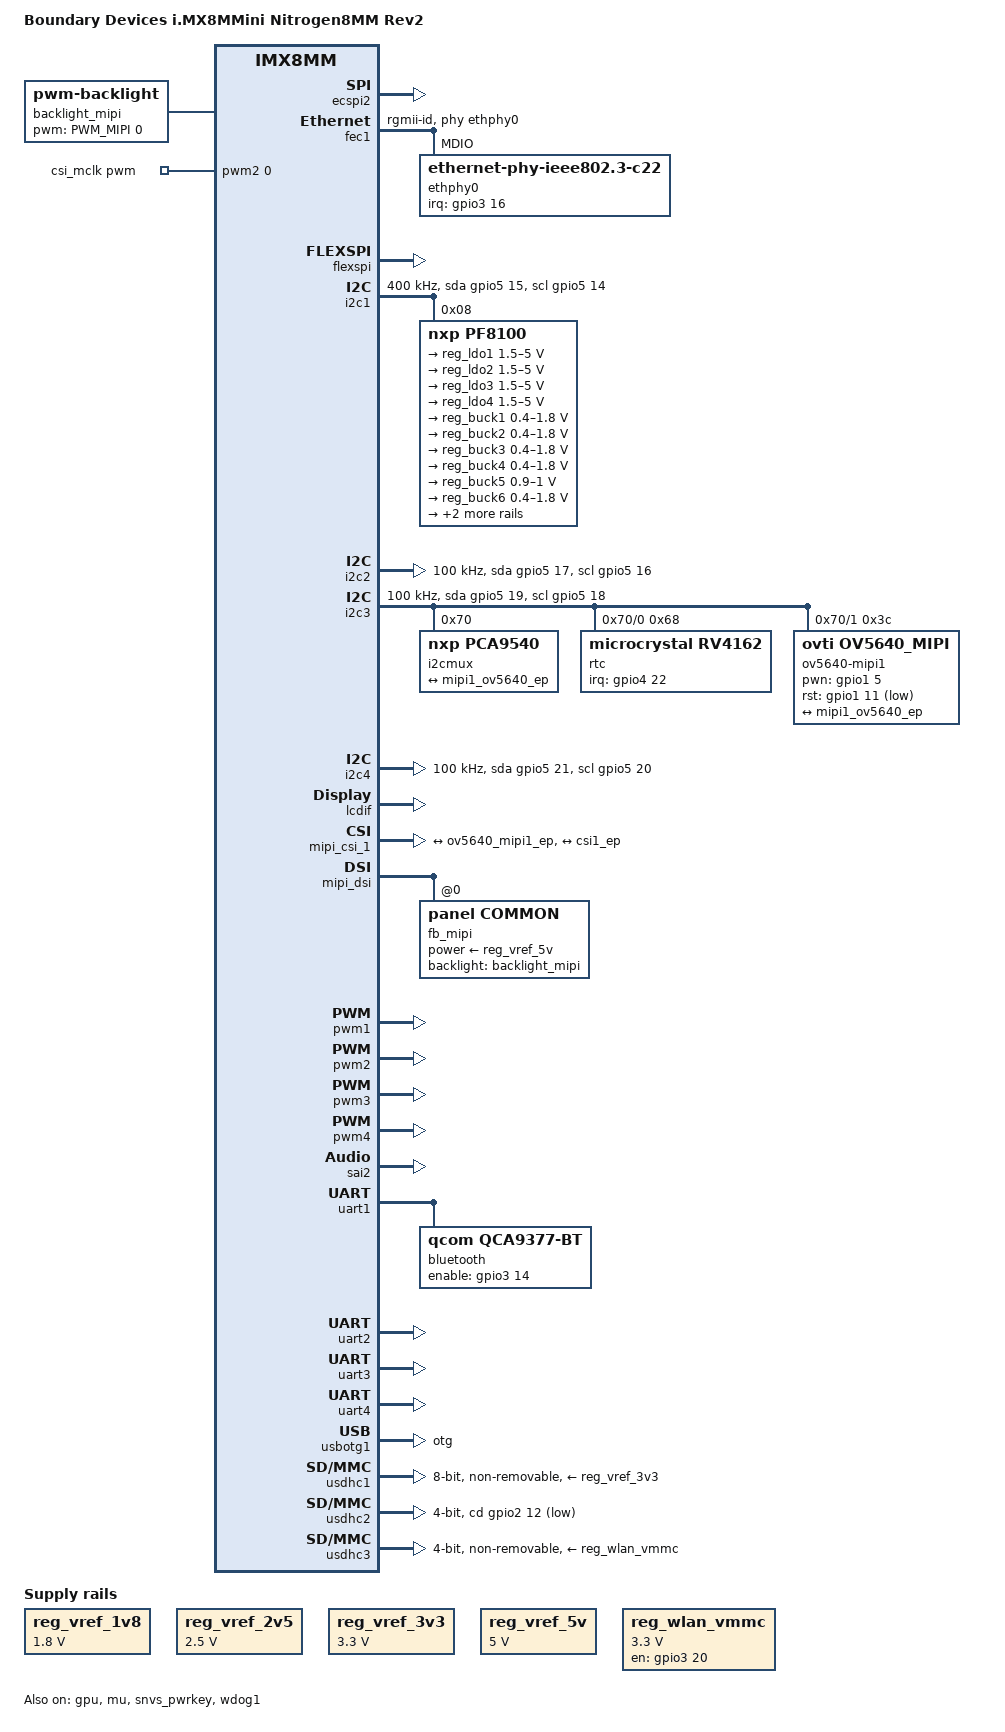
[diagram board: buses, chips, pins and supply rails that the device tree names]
// SPDX-License-Identifier: (GPL-2.0+ OR MIT)
/*
 * Copyright 2018 Boundary Devices
 */
#ifndef TOUCHSCREEN_I2C_BUS
#define TOUCHSCREEN_I2C_BUS	i2c2
#endif

#ifndef PWM_MIPI
#define PWM_MIPI	pwm3
#endif

#include "../panel-m101nwwb.dtsi"

/ {
	model = "Boundary Devices i.MX8MMini Nitrogen8MM Rev2";
	compatible = "boundary,imx8mm-nitrogen8mm_rev2", "fsl,imx8mm";

	aliases {
		a53 = &A53_0;
		backlight_mipi = &backlight_mipi;
		fb_mipi = &fb_mipi;
		lcdif = &lcdif;
		mipi = &fb_mipi;
		mipi_dsi = &mipi_dsi;
		mipi_to_lvds = &mipi_to_lvds;
		pca9540 = &pca9540;
		pca9540_2 = &pca9540_2;
		pca9546 = &pca9546;
		pwm_mipi = &PWM_MIPI;
		t_mipi = &t_mipi;
		ts_ft5x06 = &ts_ft5x06;
		ts_goodix = &ts_goodix;
	};

	backlight_mipi: backlight-mipi {
		brightness-levels = <0 1 2 3 4 5 6 7 8 9 10>;
		compatible = "pwm-backlight";
		default-brightness-level = <8>;
		display = <&display_subsystem>;
		pwms = <&PWM_MIPI 0 30000 0>;		/* 33.3 Khz */
		status = "okay";
	};

	csi_mclk: csi-mclk {
		compatible = "pwm-clock";
		#clock-cells = <0>;
		clock-frequency = <20000000>;
		clock-output-names = "csi_mclk";
		pwms = <&pwm2 0 50 0>; /* 1 / 50 ns = 20 MHz */
	};

	reg_vref_1v8: regulator-vref-1v8 {
		compatible = "regulator-fixed";
		regulator-name = "vref-1v8";
		regulator-min-microvolt = <1800000>;
		regulator-max-microvolt = <1800000>;
	};

	reg_vref_2v5: regulator-vref-2v5 {
		compatible = "regulator-fixed";
		regulator-name = "vref-2v5";
		regulator-min-microvolt = <2500000>;
		regulator-max-microvolt = <2500000>;
	};

	reg_vref_3v3: regulator-vref-3v3 {
		compatible = "regulator-fixed";
		regulator-name = "vref-3v3";
		regulator-min-microvolt = <3300000>;
		regulator-max-microvolt = <3300000>;
	};

	reg_vref_5v: regulator-vref-5v {
		compatible = "regulator-fixed";
		regulator-name = "vref-5v";
		regulator-min-microvolt = <5000000>;
		regulator-max-microvolt = <5000000>;
	};

	reg_wlan_vmmc: regulator-wlan-vmmc {
		compatible = "regulator-fixed";
		pinctrl-names = "default";
		pinctrl-0 = <&pinctrl_reg_wlan_vmmc>;
		regulator-name = "reg_wlan_vmmc";
		regulator-min-microvolt = <3300000>;
		regulator-max-microvolt = <3300000>;
		gpio = <&gpio3 20 GPIO_ACTIVE_HIGH>;
		startup-delay-us = <70000>;
		enable-active-high;
	};
};

&A53_0 {
	cpu-supply = <&reg_buck3>;
};

&ecspi2 {
	pinctrl-names = "default";
	pinctrl-0 = <&pinctrl_ecspi2>;
	fsl,spi-num-chipselects = <1>;
	cs-gpios = <&gpio5 13 GPIO_ACTIVE_LOW>;
	status = "okay";
	#address-cells = <1>;
	#size-cells = <0>;
};

&fec1 {
	mdc-gpios = <&gpio1 16 GPIO_ACTIVE_HIGH>;
	mdio-gpios = <&gpio1 17 GPIO_ACTIVE_HIGH>;
	pinctrl-names = "default";
	pinctrl-0 = <&pinctrl_fec1>;
#if 0
	phy-reset-gpios = <&gpio3 15 GPIO_ACTIVE_LOW>;
#endif
	phy-mode = "rgmii-id";
	phy-handle = <&ethphy0>;
	fsl,magic-packet;
	status = "okay";

	mdio {
		#address-cells = <1>;
		#size-cells = <0>;

		ethphy0: ethernet-phy {
			compatible = "ethernet-phy-ieee802.3-c22";
			interrupts-extended = <&gpio3 16 IRQ_TYPE_LEVEL_LOW>;
			reg-mask = <0x90>;
			rxc-skew-ps = <3000>;
			rxd0-skew-ps = <0>;
			rxd1-skew-ps = <0>;
			rxd2-skew-ps = <0>;
			rxd3-skew-ps = <0>;
			rxdv-skew-ps = <0>;
			txc-skew-ps = <3000>;
			txd0-skew-ps = <0>;
			txd1-skew-ps = <0>;
			txd2-skew-ps = <0>;
			txd3-skew-ps = <0>;
			txen-skew-ps = <0>;
		};
	};
};

&flexspi {
	pinctrl-names = "default";
	pinctrl-0 = <&pinctrl_flexspi>;
	status = "okay";
};

&gpu {
	status = "okay";
};

&i2c1 {
	clock-frequency = <400000>;
	pinctrl-names = "default", "gpio";
	pinctrl-0 = <&pinctrl_i2c1>;
	pinctrl-1 = <&pinctrl_i2c1_1>;
	scl-gpios = <&gpio5 14 GPIO_OPEN_DRAIN>;
	sda-gpios = <&gpio5 15 GPIO_OPEN_DRAIN>;
	status = "okay";

	pf8100@8 {
		compatible = "nxp,pf8100";
		pinctrl-names = "default";
		pinctrl-0 = <&pinctrl_i2c1_pf8100>;
		reg = <0x08>;

		regulators {
			reg_ldo1: ldo1 {
				regulator-always-on;
				regulator-boot-on;
				regulator-max-microvolt = <5000000>;
				regulator-min-microvolt = <1500000>;
			};

			reg_ldo2: ldo2 {
				regulator-always-on;
				regulator-boot-on;
				regulator-max-microvolt = <5000000>;
				regulator-min-microvolt = <1500000>;
			};

			reg_ldo3: ldo3 {
				regulator-boot-on;
				regulator-max-microvolt = <5000000>;
				regulator-min-microvolt = <1500000>;
			};

			reg_ldo4: ldo4 {
				regulator-always-on;
				regulator-boot-on;
				regulator-max-microvolt = <5000000>;
				regulator-min-microvolt = <1500000>;
			};

			reg_buck1: buck1 {
				nxp,phase-shift = <0>;
				regulator-max-microamp = <4500000>;
				regulator-always-on;
				regulator-boot-on;
				regulator-max-microvolt = <1800000>;
				regulator-min-microvolt =  <400000>;
			};

			reg_buck2: buck2 {
				regulator-always-on;
				regulator-boot-on;
				regulator-max-microvolt = <1800000>;
				regulator-min-microvolt =  <400000>;
			};

			reg_buck3: buck3 {
				regulator-always-on;
				regulator-boot-on;
				regulator-max-microvolt = <1800000>;
				regulator-min-microvolt =  <400000>;
				fast-slew = <1>;
			};

			reg_buck4: buck4 {
				regulator-boot-on;
				regulator-max-microvolt = <1800000>;
				regulator-min-microvolt =  <400000>;
				fast-slew = <1>;
			};

			reg_buck5: buck5 {
				regulator-always-on;
				regulator-boot-on;
				regulator-max-microvolt = <1000000>;
				regulator-min-microvolt =  <900000>;
			};

			reg_buck6: buck6 {
				regulator-always-on;
				regulator-boot-on;
				regulator-max-microvolt = <1800000>;
				regulator-min-microvolt =  <400000>;
			};

			reg_buck7: buck7 {
				regulator-always-on;
				regulator-boot-on;
				regulator-max-microvolt = <4100000>;
				regulator-min-microvolt = <1000000>;
			};

			reg_vsnvs: vsnvs {
				regulator-always-on;
				regulator-boot-on;
				regulator-max-microvolt = <3300000>;
				regulator-min-microvolt = <1800000>;
			};
		};
	};
};

&i2c2 {
	clock-frequency = <100000>;
	pinctrl-names = "default", "gpio";
	pinctrl-0 = <&pinctrl_i2c2>;
	pinctrl-1 = <&pinctrl_i2c2_1>;
	scl-gpios = <&gpio5 16 GPIO_OPEN_DRAIN>;
	sda-gpios = <&gpio5 17 GPIO_OPEN_DRAIN>;
	status = "okay";
};

&i2c3 {
	clock-frequency = <100000>;
	pinctrl-names = "default", "gpio";
	pinctrl-0 = <&pinctrl_i2c3>;
	pinctrl-1 = <&pinctrl_i2c3_1>;
	scl-gpios = <&gpio5 18 GPIO_OPEN_DRAIN>;
	sda-gpios = <&gpio5 19 GPIO_OPEN_DRAIN>;
	status = "okay";

	i2cmux@70 {
		compatible = "nxp,pca9540";
		reg = <0x70>;
		#address-cells = <1>;
		#size-cells = <0>;

		i2c3a: i2c3@0 {
			reg = <0>;
			#address-cells = <1>;
			#size-cells = <0>;
		};

		i2c3b: i2c3@1 {
			reg = <1>;
			#address-cells = <1>;
			#size-cells = <0>;
		};
	};
};

&TOUCHSCREEN_I2C_BUS {
	ts_ft5x06: touchscreen@38 {
		compatible = "edt,ft5x06-ts";
		interrupts-extended = <&gpio1 6 IRQ_TYPE_EDGE_FALLING>;
		pinctrl-names = "default";
		pinctrl-0 = <&pinctrl_ts_ft5x06>;
		reg = <0x38>;
		reset-gpios = <&gpio1 7 GPIO_ACTIVE_LOW>;
		status = "disabled";
		wakeup-gpios = <&gpio1 6 GPIO_ACTIVE_LOW>;
	};

	ts_goodix: touchscreen@5d {
		compatible = "goodix,gt9271";
		display = <&display_subsystem>;
		esd-recovery-timeout-ms = <2000>;
		interrupts-extended = <&gpio1 6 IRQ_TYPE_LEVEL_HIGH>;
		irq-gpios = <&gpio1 6 GPIO_ACTIVE_HIGH>;
		pinctrl-names = "default";
		pinctrl-0 = <&pinctrl_ts_gt911>;
		reg = <0x5d>;
		reset-gpios = <&gpio1 7 GPIO_ACTIVE_HIGH>;
		status = "disabled";
	};

	pca9540: i2cmux9540@70 {
		compatible = "nxp,pca9540";
		reg = <0x70>;
		status = "disabled";
		#address-cells = <1>;
		#size-cells = <0>;

		TOUCHSCREEN_I2C_BUS@0 {
			clock-frequency = <100000>;
			reg = <0>;
			#address-cells = <1>;
			#size-cells = <0>;

			/* Touch screens */
		};

		TOUCHSCREEN_I2C_BUS@1 {
			clock-frequency = <100000>;
			reg = <1>;
			#address-cells = <1>;
			#size-cells = <0>;

			lt8912_2: lt8912_2@48 {
				compatible = "lontium,lt8912";
				display-dsi = <&fb_mipi>;
				interrupts-extended = <&gpio1 1 IRQ_TYPE_LEVEL_LOW>;
				pinctrl-names = "default";
				pinctrl-0 = <&pinctrl_lt8912_2>;
				reg = <0x48> ;
				reset-gpios = <&gpio1 9 GPIO_ACTIVE_LOW>;
			};
		};
	};

	pca9540_2: i2cmux9540_2@70 {
		compatible = "nxp,pca9540";
		reg = <0x70>;
		status = "disabled";
		#address-cells = <1>;
		#size-cells = <0>;

		TOUCHSCREEN_I2C_BUS@0 {
			clock-frequency = <100000>;
			reg = <0>;
			#address-cells = <1>;
			#size-cells = <0>;

			/* Touch screens */
			touchscreen@5d {
				compatible = "goodix,gt911";
				display = <&display_subsystem>;
				esd-recovery-timeout-ms = <2000>;
				interrupts-extended = <&gpio1 6 IRQ_TYPE_LEVEL_HIGH>;
				irq-gpios = <&gpio1 6 GPIO_ACTIVE_HIGH>;
				pinctrl-names = "default";
				pinctrl-0 = <&pinctrl_ts_gt911>;
				reg = <0x5d>;
				reset-gpios = <&gpio1 7 GPIO_ACTIVE_HIGH>;
			};
		};

		tc358767_bus: TOUCHSCREEN_I2C_BUS@1 {
			clock-frequency = <100000>;
			reg = <1>;
			#address-cells = <1>;
			#size-cells = <0>;
		};
	};

	pca9546: i2cmux9546@70 {
		compatible = "nxp,pca9546";
		reg = <0x70>;
		status = "disabled";
		#address-cells = <1>;
		#size-cells = <0>;

		TOUCHSCREEN_I2C_BUS@0 {
			clock-frequency = <100000>;
			reg = <0>;
			#address-cells = <1>;
			#size-cells = <0>;

			lt8912@48 {
				compatible = "lontium,lt8912";
				ddc-i2c-bus = <&ddc_i2c_bus>;
				display-dsi = <&fb_mipi>;
				reg = <0x48>;
				reset-gpios = <&max7323 0 GPIO_ACTIVE_LOW>;
			};
		};

		ddc_i2c_bus: TOUCHSCREEN_I2C_BUS@1 {
			clock-frequency = <100000>;
			reg = <1>;
			#address-cells = <1>;
			#size-cells = <0>;
			/* edid  @50 */
		};

		TOUCHSCREEN_I2C_BUS@2 {
			clock-frequency = <100000>;
			reg = <2>;
			#address-cells = <1>;
			#size-cells = <0>;

			/* Touch screens */
			ts_ft5x06_2: touchscreen@38 {
				compatible = "edt,ft5x06-ts";
				interrupts-extended = <&gpio1 6 IRQ_TYPE_EDGE_FALLING>;
				pinctrl-names = "default";
				pinctrl-0 = <&pinctrl_ts_ft5x06>;
				reg = <0x38>;
				reset-gpios = <&gpio1 7 GPIO_ACTIVE_LOW>;
				wakeup-gpios = <&gpio1 6 GPIO_ACTIVE_LOW>;
			};
		};

		TOUCHSCREEN_I2C_BUS@3 {
			clock-frequency = <100000>;
			reg = <3>;
			#address-cells = <1>;
			#size-cells = <0>;

			max7323: max7323@68 {
				compatible = "maxim,max7323";
				gpio-controller;
				reg = <0x68>;
				#gpio-cells = <2>;
			};
		};
	};
};

&i2c3a {
	rtc@68 {
		compatible = "microcrystal,rv4162";
		pinctrl-names = "default";
		pinctrl-0 = <&pinctrl_i2c3a_rv4162>;
		reg = <0x68>;
		interrupts-extended = <&gpio4 22 IRQ_TYPE_LEVEL_LOW>;
		wakeup-source;
	};
};

&i2c3b {
	ov5640-mipi1@3c {
		clocks = <&csi_mclk>;
		clock-names = "csi_mclk";
		compatible = "ovti,ov5640_mipi";
		csi_id = <0>;
		mclk = <20000000>;
		mclk_source = <0>;
		pinctrl-names = "default";
		pinctrl-0 = <&pinctrl_i2c3b_ov5640_mipi>;
		pwn-gpios = <&gpio1 5 GPIO_ACTIVE_HIGH>;
		rst-gpios = <&gpio1 11 GPIO_ACTIVE_LOW>;
		reg = <0x3c>;
		status = "okay";

		port {
			ov5640_mipi1_ep: endpoint {
				remote-endpoint = <&mipi1_ov5640_ep>;
			};
		};
	};
};

&i2c4 {
	clock-frequency = <100000>;
	pinctrl-names = "default", "gpio";
	pinctrl-0 = <&pinctrl_i2c4>;
	pinctrl-1 = <&pinctrl_i2c4_1>;
	scl-gpios = <&gpio5 20 GPIO_OPEN_DRAIN>;
	sda-gpios = <&gpio5 21 GPIO_OPEN_DRAIN>;
	status = "okay";
};

&iomuxc {
	pinctrl-names = "default";
	pinctrl-0 = <&pinctrl_hog>;

	pinctrl_ecspi2: ecspi2grp {
		fsl,pins = <
			/* J15 */
			MX8MM_IOMUXC_ECSPI2_SS0_GPIO5_IO13	0x140	/* Pin 39 */
			MX8MM_IOMUXC_ECSPI2_MISO_ECSPI2_MISO	0x19	/* Pin 41 */
			MX8MM_IOMUXC_ECSPI2_SCLK_ECSPI2_SCLK	0x19	/* Pin 43 */
			MX8MM_IOMUXC_ECSPI2_MOSI_ECSPI2_MOSI	0x19	/* Pin 45 */
		>;
	};

	pinctrl_fec1: fec1grp {
		fsl,pins = <
			/* PAD_CTL_ODE is screwy on 8mm mini, avoid it */
			MX8MM_IOMUXC_ENET_MDC_GPIO1_IO16	0x00
			MX8MM_IOMUXC_ENET_MDIO_GPIO1_IO17	0x00
			MX8MM_IOMUXC_ENET_RD0_ENET1_RGMII_RD0	0x91
			MX8MM_IOMUXC_ENET_RD1_ENET1_RGMII_RD1	0x91
			MX8MM_IOMUXC_ENET_RD2_ENET1_RGMII_RD2	0x91
			MX8MM_IOMUXC_ENET_RD3_ENET1_RGMII_RD3	0x91
			MX8MM_IOMUXC_ENET_RXC_ENET1_RGMII_RXC	0x91
			MX8MM_IOMUXC_ENET_RX_CTL_ENET1_RGMII_RX_CTL	0x91
			MX8MM_IOMUXC_ENET_TD0_ENET1_RGMII_TD0	0x10
			MX8MM_IOMUXC_ENET_TD1_ENET1_RGMII_TD1	0x10
			MX8MM_IOMUXC_ENET_TD2_ENET1_RGMII_TD2	0x10
			MX8MM_IOMUXC_ENET_TD3_ENET1_RGMII_TD3	0x10
			MX8MM_IOMUXC_ENET_TXC_ENET1_RGMII_TXC	0x12
			MX8MM_IOMUXC_ENET_TX_CTL_ENET1_RGMII_TX_CTL	0x10
			MX8MM_IOMUXC_NAND_RE_B_GPIO3_IO15	0x159
			MX8MM_IOMUXC_NAND_READY_B_GPIO3_IO16	0x1c0
		>;
	};

	pinctrl_flexspi: flexspigrp {
		fsl,pins = <
			MX8MM_IOMUXC_NAND_ALE_QSPI_A_SCLK	0x1c2
			MX8MM_IOMUXC_NAND_CE0_B_QSPI_A_SS0_B	0x82
			MX8MM_IOMUXC_NAND_DATA00_QSPI_A_DATA0	0x82
			MX8MM_IOMUXC_NAND_DATA01_QSPI_A_DATA1	0x82
			MX8MM_IOMUXC_NAND_DATA02_QSPI_A_DATA2	0x82
			MX8MM_IOMUXC_NAND_DATA03_QSPI_A_DATA3	0x82
		>;
	};

	pinctrl_hog: hoggrp {
		fsl,pins = <
			MX8MM_IOMUXC_GPIO1_IO03_GPIO1_IO3	0x09
			MX8MM_IOMUXC_GPIO1_IO08_GPIO1_IO8	0x09
		>;
	};

	pinctrl_i2c1: i2c1grp {
		fsl,pins = <
			MX8MM_IOMUXC_I2C1_SCL_I2C1_SCL		0x400001c3
			MX8MM_IOMUXC_I2C1_SDA_I2C1_SDA		0x400001c3
		>;
	};

	pinctrl_i2c1_1: i2c1_1grp {
		fsl,pins = <
			MX8MM_IOMUXC_I2C1_SCL_GPIO5_IO14	0x400001c3
			MX8MM_IOMUXC_I2C1_SDA_GPIO5_IO15	0x400001c3
		>;
	};

	pinctrl_i2c1_pf8100: i2c1-pf8100grp {
		fsl,pins = <
			MX8MM_IOMUXC_NAND_CE2_B_GPIO3_IO3	0x149
			MX8MM_IOMUXC_NAND_CE3_B_GPIO3_IO4	0x149
		>;
	};

	pinctrl_i2c2: i2c2grp {
		fsl,pins = <
			MX8MM_IOMUXC_I2C2_SCL_I2C2_SCL		0x400001c3
			MX8MM_IOMUXC_I2C2_SDA_I2C2_SDA		0x400001c3
		>;
	};

	pinctrl_i2c2_1: i2c2_1grp {
		fsl,pins = <
			MX8MM_IOMUXC_I2C2_SCL_GPIO5_IO16	0x400001c3
			MX8MM_IOMUXC_I2C2_SDA_GPIO5_IO17	0x400001c3
		>;
	};

	pinctrl_sn65dsi83: sn65dsi83grp {
		fsl,pins = <
			MX8MM_IOMUXC_GPIO1_IO01_GPIO1_IO1	0x04
			MX8MM_IOMUXC_GPIO1_IO09_GPIO1_IO9	0x106
		>;
	};

	pinctrl_ts_gt911: ts-gt911grp {
		fsl,pins = <
			MX8MM_IOMUXC_GPIO1_IO06_GPIO1_IO6	0x1d6
			/* driver writes levels, instead of active/inactive */
			MX8MM_IOMUXC_GPIO1_IO07_GPIO1_IO7	0x149
		>;
	};

	pinctrl_ts_ft5x06: ts-ft5x06grp {
		fsl,pins = <
			MX8MM_IOMUXC_GPIO1_IO06_GPIO1_IO6	0x149
			MX8MM_IOMUXC_GPIO1_IO07_GPIO1_IO7	0x109
		>;
	};

	pinctrl_i2c3: i2c3grp {
		fsl,pins = <
			MX8MM_IOMUXC_I2C3_SCL_I2C3_SCL		0x400001c3
			MX8MM_IOMUXC_I2C3_SDA_I2C3_SDA		0x400001c3
		>;
	};

	pinctrl_i2c3_1: i2c3_1grp {
		fsl,pins = <
			MX8MM_IOMUXC_I2C3_SCL_GPIO5_IO18	0x400001c3
			MX8MM_IOMUXC_I2C3_SDA_GPIO5_IO19	0x400001c3
		>;
	};

	pinctrl_i2c3a_rv4162: i2c3a-rv4162grp {
		fsl,pins = <
			MX8MM_IOMUXC_SAI2_RXC_GPIO4_IO22	0x1c0
		>;
	};

	pinctrl_i2c3b_ov5640_mipi: i2c3b-ov5640-mipigrp {
		fsl,pins = <
			MX8MM_IOMUXC_GPIO1_IO05_GPIO1_IO5	0x141
			MX8MM_IOMUXC_GPIO1_IO11_GPIO1_IO11	0x101
		>;
	};

	pinctrl_i2c4: i2c4grp {
		fsl,pins = <
			MX8MM_IOMUXC_I2C4_SCL_I2C4_SCL		0x400001c3
			MX8MM_IOMUXC_I2C4_SDA_I2C4_SDA		0x400001c3
		>;
	};

	pinctrl_i2c4_1: i2c4_1grp {
		fsl,pins = <
			MX8MM_IOMUXC_I2C4_SCL_GPIO5_IO20	0x400001c3
			MX8MM_IOMUXC_I2C4_SDA_GPIO5_IO21	0x400001c3
		>;
	};

	pinctrl_lt8912_2: lt8912_2grp {
		fsl,pins = <
			MX8MM_IOMUXC_GPIO1_IO09_GPIO1_IO9	0x16
			MX8MM_IOMUXC_GPIO1_IO01_GPIO1_IO1	0x1c0
		>;
	};

	pinctrl_pwm1: pwm1grp {
		fsl,pins = <
			MX8MM_IOMUXC_SPDIF_EXT_CLK_PWM1_OUT	0x16
		>;
	};

	pinctrl_pwm2: pwm2grp {
		fsl,pins = <
			MX8MM_IOMUXC_SPDIF_RX_PWM2_OUT		0x16
		>;
	};

	pinctrl_pwm3: pwm3grp {
		fsl,pins = <
			MX8MM_IOMUXC_SPDIF_TX_PWM3_OUT		0x116
		>;
	};

	pinctrl_pwm4: pwm4grp {
		fsl,pins = <
			MX8MM_IOMUXC_SAI3_MCLK_PWM4_OUT		0x16
		>;
	};

	pinctrl_reg_wlan_vmmc: reg-wlan-vmmcgrp {
		fsl,pins = <
			MX8MM_IOMUXC_SAI5_RXC_GPIO3_IO20	0x16
		>;
	};

	pinctrl_sai2: sai2grp {
		fsl,pins = <
			/* Bluetooth PCM */
			MX8MM_IOMUXC_SAI2_TXFS_SAI2_TX_SYNC	0xd6
			MX8MM_IOMUXC_SAI2_TXC_SAI2_TX_BCLK	0xd6
			MX8MM_IOMUXC_SAI2_TXD0_SAI2_TX_DATA0	0xd6
			MX8MM_IOMUXC_SAI2_RXD0_SAI2_RX_DATA0	0xd6
		>;
	};

	pinctrl_sai3: sai3grp {
		fsl,pins = <
			/* J16 */
			MX8MM_IOMUXC_SAI3_MCLK_SAI3_MCLK	0xd6	/* Pin 22 */
			MX8MM_IOMUXC_SAI3_TXC_SAI3_TX_BCLK	0xd6	/* Pin 26 */
			MX8MM_IOMUXC_SAI3_TXD_SAI3_TX_DATA0	0xd6	/* Pin 28 */
			MX8MM_IOMUXC_SAI3_RXD_SAI3_RX_DATA0	0xd6	/* Pin 30 */
		>;
	};

	pinctrl_sai5: sai5grp {
		fsl,pins = <
			MX8MM_IOMUXC_SAI5_MCLK_SAI5_MCLK	0xd6
			MX8MM_IOMUXC_SAI5_RXD0_SAI5_RX_DATA0	0xd6
			MX8MM_IOMUXC_SAI5_RXD1_SAI5_RX_DATA1	0xd6
			MX8MM_IOMUXC_SAI5_RXD2_SAI5_RX_DATA2	0xd6
			MX8MM_IOMUXC_SAI5_RXD3_SAI5_RX_DATA3	0xd6
		>;
	};

	pinctrl_sound_wm8960: sound-wm8960grp {
		fsl,pins = <
			MX8MM_IOMUXC_GPIO1_IO10_GPIO1_IO10	0x80
			MX8MM_IOMUXC_SAI3_RXFS_GPIO4_IO28	0x80
		>;
	};

	pinctrl_uart1: uart1grp {
		fsl,pins = <
			MX8MM_IOMUXC_UART1_RXD_UART1_DCE_RX	0x140
			MX8MM_IOMUXC_UART1_TXD_UART1_DCE_TX	0x140
			MX8MM_IOMUXC_UART3_RXD_UART1_DCE_CTS_B	0x140
			MX8MM_IOMUXC_UART3_TXD_UART1_DCE_RTS_B	0x140
			MX8MM_IOMUXC_NAND_DQS_GPIO3_IO14	0x119
		>;
	};

	pinctrl_uart2: uart2grp {
		fsl,pins = <
			MX8MM_IOMUXC_UART2_RXD_UART2_DCE_RX	0x140
			MX8MM_IOMUXC_UART2_TXD_UART2_DCE_TX	0x140
		>;
	};

	pinctrl_uart3: uart3grp {
		fsl,pins = <
			MX8MM_IOMUXC_ECSPI1_SCLK_UART3_DCE_RX		0x140
			MX8MM_IOMUXC_ECSPI1_MOSI_UART3_DCE_TX		0x140
			MX8MM_IOMUXC_ECSPI1_SS0_UART3_DCE_RTS_B		0x140
			MX8MM_IOMUXC_ECSPI1_MISO_UART3_DCE_CTS_B	0x140
		>;
	};

	pinctrl_uart4: uart4grp {
		fsl,pins = <
			MX8MM_IOMUXC_UART4_RXD_UART4_DCE_RX	0x140
			MX8MM_IOMUXC_UART4_TXD_UART4_DCE_TX	0x140
		>;
	};

	pinctrl_usbotg1: usbotg1grp {
		fsl,pins = <
			MX8MM_IOMUXC_GPIO1_IO12_USB1_OTG_PWR	0x16
			MX8MM_IOMUXC_GPIO1_IO13_USB1_OTG_OC	0x156
		>;
	};

	pinctrl_usdhc1: usdhc1grp {
		fsl,pins = <
			MX8MM_IOMUXC_SD1_CLK_USDHC1_CLK	0x190
			MX8MM_IOMUXC_SD1_CMD_USDHC1_CMD	0x1d0
			MX8MM_IOMUXC_SD1_DATA0_USDHC1_DATA0	0x1d0
			MX8MM_IOMUXC_SD1_DATA1_USDHC1_DATA1	0x1d0
			MX8MM_IOMUXC_SD1_DATA2_USDHC1_DATA2	0x1d0
			MX8MM_IOMUXC_SD1_DATA3_USDHC1_DATA3	0x1d0
			MX8MM_IOMUXC_SD1_DATA4_USDHC1_DATA4	0x1d0
			MX8MM_IOMUXC_SD1_DATA5_USDHC1_DATA5	0x1d0
			MX8MM_IOMUXC_SD1_DATA6_USDHC1_DATA6	0x1d0
			MX8MM_IOMUXC_SD1_DATA7_USDHC1_DATA7	0x1d0
			MX8MM_IOMUXC_SD1_RESET_B_GPIO2_IO10	0x141
		>;
	};

	pinctrl_usdhc1_100mhz: usdhc1grp100mhz {
		fsl,pins = <
			MX8MM_IOMUXC_SD1_CLK_USDHC1_CLK	0x194
			MX8MM_IOMUXC_SD1_CMD_USDHC1_CMD	0x1d4
			MX8MM_IOMUXC_SD1_DATA0_USDHC1_DATA0	0x1d4
			MX8MM_IOMUXC_SD1_DATA1_USDHC1_DATA1	0x1d4
			MX8MM_IOMUXC_SD1_DATA2_USDHC1_DATA2	0x1d4
			MX8MM_IOMUXC_SD1_DATA3_USDHC1_DATA3	0x1d4
			MX8MM_IOMUXC_SD1_DATA4_USDHC1_DATA4	0x1d4
			MX8MM_IOMUXC_SD1_DATA5_USDHC1_DATA5	0x1d4
			MX8MM_IOMUXC_SD1_DATA6_USDHC1_DATA6	0x1d4
			MX8MM_IOMUXC_SD1_DATA7_USDHC1_DATA7	0x1d4
		>;
	};

	pinctrl_usdhc1_200mhz: usdhc1grp200mhz {
		fsl,pins = <
			MX8MM_IOMUXC_SD1_CLK_USDHC1_CLK	0x196
			MX8MM_IOMUXC_SD1_CMD_USDHC1_CMD	0x1d6
			MX8MM_IOMUXC_SD1_DATA0_USDHC1_DATA0	0x1d6
			MX8MM_IOMUXC_SD1_DATA1_USDHC1_DATA1	0x1d6
			MX8MM_IOMUXC_SD1_DATA2_USDHC1_DATA2	0x1d6
			MX8MM_IOMUXC_SD1_DATA3_USDHC1_DATA3	0x1d6
			MX8MM_IOMUXC_SD1_DATA4_USDHC1_DATA4	0x1d6
			MX8MM_IOMUXC_SD1_DATA5_USDHC1_DATA5	0x1d6
			MX8MM_IOMUXC_SD1_DATA6_USDHC1_DATA6	0x1d6
			MX8MM_IOMUXC_SD1_DATA7_USDHC1_DATA7	0x1d6
		>;
	};

	pinctrl_usdhc2: usdhc2grp {
		fsl,pins = <
			MX8MM_IOMUXC_SD2_CLK_USDHC2_CLK	0x190
			MX8MM_IOMUXC_SD2_CMD_USDHC2_CMD	0x1d0
			MX8MM_IOMUXC_SD2_DATA0_USDHC2_DATA0	0x1d0
			MX8MM_IOMUXC_SD2_DATA1_USDHC2_DATA1	0x1d0
			MX8MM_IOMUXC_SD2_DATA2_USDHC2_DATA2	0x1d0
			MX8MM_IOMUXC_SD2_DATA3_USDHC2_DATA3	0x1d0
			MX8MM_IOMUXC_SD2_CD_B_GPIO2_IO12	0x1c4
		>;
	};

	pinctrl_usdhc2_100mhz: usdhc2grp100mhz {
		fsl,pins = <
			MX8MM_IOMUXC_SD2_CLK_USDHC2_CLK	0x194
			MX8MM_IOMUXC_SD2_CMD_USDHC2_CMD	0x1d4
			MX8MM_IOMUXC_SD2_DATA0_USDHC2_DATA0	0x1d4
			MX8MM_IOMUXC_SD2_DATA1_USDHC2_DATA1	0x1d4
			MX8MM_IOMUXC_SD2_DATA2_USDHC2_DATA2	0x1d4
			MX8MM_IOMUXC_SD2_DATA3_USDHC2_DATA3	0x1d4
		>;
	};

	pinctrl_usdhc2_200mhz: usdhc2grp200mhz {
		fsl,pins = <
			MX8MM_IOMUXC_SD2_CLK_USDHC2_CLK	0x196
			MX8MM_IOMUXC_SD2_CMD_USDHC2_CMD	0x1d6
			MX8MM_IOMUXC_SD2_DATA0_USDHC2_DATA0	0x1d6
			MX8MM_IOMUXC_SD2_DATA1_USDHC2_DATA1	0x1d6
			MX8MM_IOMUXC_SD2_DATA2_USDHC2_DATA2	0x1d6
			MX8MM_IOMUXC_SD2_DATA3_USDHC2_DATA3	0x1d6
		>;
	};

	pinctrl_usdhc3: usdhc3grp {
		fsl,pins = <
			MX8MM_IOMUXC_NAND_WE_B_USDHC3_CLK	0x190
			MX8MM_IOMUXC_NAND_WP_B_USDHC3_CMD	0x1d0
			MX8MM_IOMUXC_NAND_DATA04_USDHC3_DATA0	0x1d0
			MX8MM_IOMUXC_NAND_DATA05_USDHC3_DATA1	0x1d0
			MX8MM_IOMUXC_NAND_DATA06_USDHC3_DATA2	0x1d0
			MX8MM_IOMUXC_NAND_DATA07_USDHC3_DATA3	0x1d0
			/* Bluetooth slow clock */
			MX8MM_IOMUXC_GPIO1_IO00_ANAMIX_REF_CLK_32K	0x03
		>;
	};

	pinctrl_usdhc3_100mhz: usdhc3grp100mhz {
		fsl,pins = <
			MX8MM_IOMUXC_NAND_WE_B_USDHC3_CLK	0x194
			MX8MM_IOMUXC_NAND_WP_B_USDHC3_CMD	0x1d4
			MX8MM_IOMUXC_NAND_DATA04_USDHC3_DATA0	0x1d4
			MX8MM_IOMUXC_NAND_DATA05_USDHC3_DATA1	0x1d4
			MX8MM_IOMUXC_NAND_DATA06_USDHC3_DATA2	0x1d4
			MX8MM_IOMUXC_NAND_DATA07_USDHC3_DATA3	0x1d4
		>;
	};

	pinctrl_usdhc3_200mhz: usdhc3grp200mhz {
		fsl,pins = <
			MX8MM_IOMUXC_NAND_WE_B_USDHC3_CLK	0x196
			MX8MM_IOMUXC_NAND_WP_B_USDHC3_CMD	0x1d6
			MX8MM_IOMUXC_NAND_DATA04_USDHC3_DATA0	0x1d6
			MX8MM_IOMUXC_NAND_DATA05_USDHC3_DATA1	0x1d6
			MX8MM_IOMUXC_NAND_DATA06_USDHC3_DATA2	0x1d6
			MX8MM_IOMUXC_NAND_DATA07_USDHC3_DATA3	0x1d6
		>;
	};

	pinctrl_wdog: wdoggrp {
		fsl,pins = <
			MX8MM_IOMUXC_GPIO1_IO02_WDOG1_WDOG_B	0x140
		>;
	};
};

&lcdif {
	status = "okay";
};

&mipi_csi_1 {
	#address-cells = <1>;
	#size-cells = <0>;
	status = "okay";
	port {
		mipi1_ov5640_ep: endpoint@1 {
			remote-endpoint = <&ov5640_mipi1_ep>;
			data-lanes = <2>;
			csis-hs-settle = <13>;
			csis-clk-settle = <2>;
			csis-wclk;
		};

		csi1_mipi_ep: endpoint@2 {
			remote-endpoint = <&csi1_ep>;
		};
	};
};

&mipi_dsi {
	status = "okay";

	fb_mipi: panel@0 {
		backlight = <&backlight_mipi>;
		bits-per-color = <8>;
		bridge-de-active = <0>;
		bus-format = "rgb888";
		clocks = <&mipi_dsi 0>,
			<&clk IMX8MM_CLK_LCDIF_PIXEL>;
		clock-names = "mipi_clk", "pixel_clock";
		compatible = "panel,common";
		dsi-format = "rgb888";
		dsi-lanes = <4>;
		mode-skip-eot;
		mode-video;
		mode-video-burst;
		panel-height-mm = <136>;
		panel-width-mm = <217>;
		pinctrl-names = "sn65dsi83";
		pinctrl-0 = <&pinctrl_sn65dsi83>;
		power-supply = <&reg_vref_5v>;
		reg = <0>;
		sn65dsi83 = <&mipi_to_lvds>;
		spwg;

		display-timings {
			t_mipi: t-dsi-default {
				/* m101nwwb by default */
				clock-frequency = <66000000>;
				hactive = <1280>;
				vactive = <800>;
				hback-porch = <5>;
				hfront-porch = <123>;
				vback-porch = <3>;
				vfront-porch = <24>;
				hsync-len = <1>;
				vsync-len = <1>;
				hsync-active = <0>;
				vsync-active = <0>;
				de-active = <1>;
			};
		};

		mipi_to_lvds: mipi-to-lvds {
			alias = <&mipi_to_lvds>;
			enable-gpios = <&gpio1 9 GPIO_ACTIVE_HIGH>;
			i2c-address = <0x2c>;
			i2c-bus = <&TOUCHSCREEN_I2C_BUS>;
			interrupts-extended = <&gpio1 1 IRQ_TYPE_LEVEL_HIGH>;
			status = "disabled";
		};
	};
};

&mu {
	status = "okay";
};

&pwm1 {
	pinctrl-names = "default";
	pinctrl-0 = <&pinctrl_pwm1>;
	status = "okay";
};

&pwm2 {
	assigned-clocks = <&clk IMX8MM_CLK_PWM2>;
	assigned-clock-parents = <&clk IMX8MM_SYS_PLL1_40M>;
	assigned-clock-rates = <40000000>;
	pinctrl-names = "default";
	pinctrl-0 = <&pinctrl_pwm2>;
	status = "okay";
};

&pwm3 {
	pinctrl-names = "default";
	pinctrl-0 = <&pinctrl_pwm3>;
	status = "okay";
};

&pwm4 {
	pinctrl-names = "default";
	pinctrl-0 = <&pinctrl_pwm4>;
	status = "okay";
};

&sai2 {
	pinctrl-names = "default";
	pinctrl-0 = <&pinctrl_sai2>;
	status = "okay";
};

&sai3 {
	pinctrl-names = "default";
	pinctrl-0 = <&pinctrl_sai3>;
	status = "disabled";
};

&sai5 {
	pinctrl-names = "default";
	pinctrl-0 = <&pinctrl_sai5>;
	status = "disabled";
};

&snvs_pwrkey {
	status = "okay";
};

&uart1 { /* BT */
	pinctrl-names = "default";
	pinctrl-0 = <&pinctrl_uart1>;
	assigned-clocks = <&clk IMX8MM_CLK_UART1>;
	assigned-clock-parents = <&clk IMX8MM_SYS_PLL1_80M>;
	uart-has-rtscts;
	status = "okay";

	bluetooth {
		compatible = "qcom,qca9377-bt";
		enable-gpios = <&gpio3 14 GPIO_ACTIVE_HIGH>;
		max-speed = <3000000>;
	};
};

&uart2 { /* console */
	pinctrl-names = "default";
	pinctrl-0 = <&pinctrl_uart2>;
	assigned-clocks = <&clk IMX8MM_CLK_UART2>;
	assigned-clock-parents = <&clk IMX8MM_CLK_24M>;
	status = "okay";
};

&uart3 { /* J15 */
	pinctrl-names = "default";
	pinctrl-0 = <&pinctrl_uart3>;
	assigned-clocks = <&clk IMX8MM_CLK_UART3>;
	assigned-clock-parents = <&clk IMX8MM_SYS_PLL1_80M>;
	uart-has-rtscts;
	status = "okay";
};

&uart4 {
	pinctrl-names = "default";
	pinctrl-0 = <&pinctrl_uart4>;
	assigned-clocks = <&clk IMX8MM_CLK_UART4>;
	assigned-clock-parents = <&clk IMX8MM_SYS_PLL1_80M>;
	status = "okay";
};

&usbotg1 {
	dr_mode = "otg";
	over-current-active-low;
	pinctrl-names = "default";
	pinctrl-0 = <&pinctrl_usbotg1>;
	power-active-high;
	status = "okay";
};

&usdhc1 {
	bus-width = <8>;
	no-mmc-hs400;
	non-removable;
	pinctrl-names = "default", "state_100mhz", "state_200mhz";
	pinctrl-0 = <&pinctrl_usdhc1>;
	pinctrl-1 = <&pinctrl_usdhc1_100mhz>;
	pinctrl-2 = <&pinctrl_usdhc1_200mhz>;
	status = "okay";
	vmmc-supply = <&reg_vref_3v3>;
	vqmmc-1-8-v;
	vqmmc-supply = <&reg_vref_1v8>;
};

&usdhc2 {
	bus-width = <4>;
	cd-gpios = <&gpio2 12 GPIO_ACTIVE_LOW>;
	pinctrl-names = "default", "state_100mhz", "state_200mhz";
	pinctrl-0 = <&pinctrl_usdhc2>;
	pinctrl-1 = <&pinctrl_usdhc2_100mhz>;
	pinctrl-2 = <&pinctrl_usdhc2_200mhz>;
	status = "okay";
	vqmmc-supply = <&reg_ldo2>;
};

&usdhc3 {
	bus-width = <4>;
	fsl,sdio-async-interrupt-enabled;
	keep-power-in-suspend;
	no-sd-uhs-sdr104;
	non-removable;
	pinctrl-names = "default", "state_100mhz", "state_200mhz";
	pinctrl-0 = <&pinctrl_usdhc3>;
	pinctrl-1 = <&pinctrl_usdhc3_100mhz>;
	pinctrl-2 = <&pinctrl_usdhc3_200mhz>;
	pm-ignore-notify;
	status = "okay";
	vmmc-supply = <&reg_wlan_vmmc>;
	vqmmc-1-8-v;
	vqmmc-supply = <&reg_vref_1v8>;
};

&wdog1 {
	pinctrl-names = "default";
	pinctrl-0 = <&pinctrl_wdog>;
	fsl,ext-reset-output;
	status = "okay";
};
